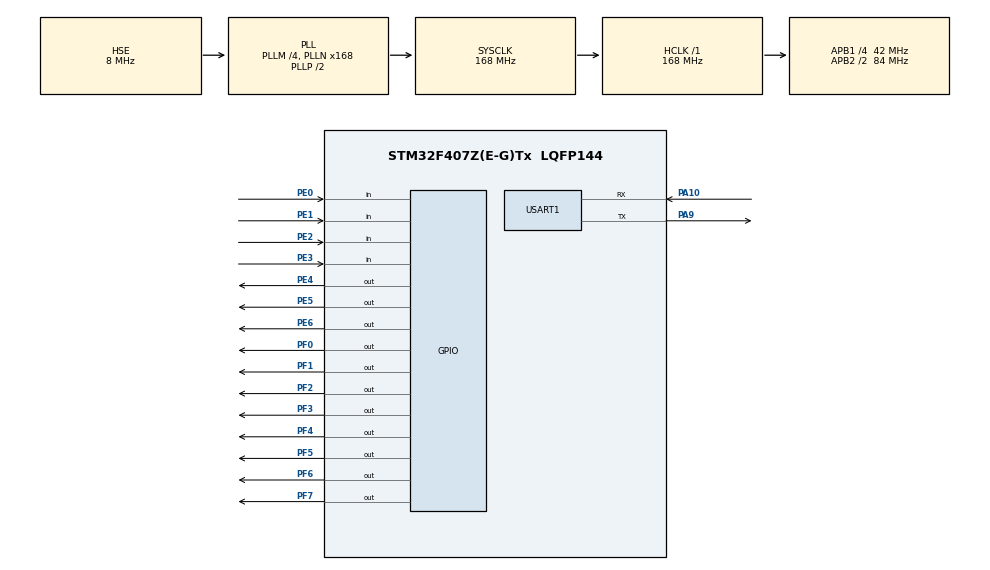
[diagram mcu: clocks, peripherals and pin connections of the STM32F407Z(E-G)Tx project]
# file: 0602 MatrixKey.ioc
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Mcu.Family=STM32F4
Mcu.Name=STM32F407Z(E-G)Tx
Mcu.Package=LQFP144
NVIC.PriorityGroup=NVIC_PRIORITYGROUP_4
PA10.Mode=Asynchronous
PA10.Signal=USART1_RX
PA13.Mode=Serial_Wire
PA13.Signal=SYS_JTMS-SWDIO
PA14.Mode=Serial_Wire
PA14.Signal=SYS_JTCK-SWCLK
PA9.Mode=Asynchronous
PA9.Signal=USART1_TX
PE0.GPIO_PuPd=GPIO_PULLUP
PE0.Signal=GPIO_Input
PE1.GPIO_PuPd=GPIO_PULLUP
PE1.Signal=GPIO_Input
PE2.GPIO_PuPd=GPIO_PULLUP
PE2.Signal=GPIO_Input
PE3.GPIO_PuPd=GPIO_PULLUP
PE3.Signal=GPIO_Input
PE4.PinState=GPIO_PIN_SET
PE4.Signal=GPIO_Output
PE5.PinState=GPIO_PIN_SET
PE5.Signal=GPIO_Output
PE6.PinState=GPIO_PIN_SET
PE6.Signal=GPIO_Output
PF0.PinState=GPIO_PIN_SET
PF0.Signal=GPIO_Output
PF1.PinState=GPIO_PIN_SET
PF1.Signal=GPIO_Output
PF2.PinState=GPIO_PIN_SET
PF2.Signal=GPIO_Output
PF3.PinState=GPIO_PIN_SET
PF3.Signal=GPIO_Output
PF4.PinState=GPIO_PIN_SET
PF4.Signal=GPIO_Output
PF5.PinState=GPIO_PIN_SET
PF5.Signal=GPIO_Output
PF6.PinState=GPIO_PIN_SET
PF6.Signal=GPIO_Output
PF7.PinState=GPIO_PIN_SET
PF7.Signal=GPIO_Output
PH0-OSC_IN.Mode=HSE-External-Oscillator
PH0-OSC_IN.Signal=RCC_OSC_IN
PH1-OSC_OUT.Mode=HSE-External-Oscillator
PH1-OSC_OUT.Signal=RCC_OSC_OUT
ProjectManager.HeapSize=0x200
ProjectManager.StackSize=0x400
ProjectManager.TargetToolchain=STM32CubeIDE
RCC.48MHZClocksFreq_Value=84000000
RCC.AHBFreq_Value=168000000
RCC.APB1CLKDivider=RCC_HCLK_DIV4
RCC.APB1Freq_Value=42000000
RCC.APB1TimFreq_Value=84000000
RCC.APB2CLKDivider=RCC_HCLK_DIV2
RCC.APB2Freq_Value=84000000
RCC.APB2TimFreq_Value=168000000
RCC.CortexFreq_Value=168000000
RCC.HCLKFreq_Value=168000000
RCC.HSE_VALUE=8000000
RCC.HSI_VALUE=16000000
RCC.LSE_VALUE=32768
RCC.PLLM=4
RCC.PLLN=168
RCC.PLLSourceVirtual=RCC_PLLSOURCE_HSE
RCC.SYSCLKFreq_VALUE=168000000
RCC.SYSCLKSource=RCC_SYSCLKSOURCE_PLLCLK
RCC.VCOOutputFreq_Value=336000000
USART1.VirtualMode=VM_ASYNC
board=custom

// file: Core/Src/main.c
/* USER CODE BEGIN Header */
/**
  ******************************************************************************
  * @file           : main.c
  * @brief          : Main program body
  ******************************************************************************
  * @attention
  *
  * Copyright (c) 2026 STMicroelectronics.
  * All rights reserved.
  *
  * This software is licensed under terms that can be found in the LICENSE file
  * in the root directory of this software component.
  * If no LICENSE file comes with this software, it is provided AS-IS.
  *
  ******************************************************************************
  */
/* USER CODE END Header */
#include "main.h"
#include "usart.h"
#include "gpio.h"

/* USER CODE BEGIN Includes */
#include "stdint.h"
/* USER CODE END Includes */

/* USER CODE BEGIN PV */
static uint8_t Scan_MatrixKey(void);
static void Key_To_LED(uint8_t key_val);
/* USER CODE END PV */

void SystemClock_Config(void);

/* USER CODE BEGIN 0 */
void delay(uint32_t t)
{
	while(t--);
}

// 3行PE4~PE6，4列PE0~PE3，返回键值0~9
uint8_t KeyScan(void)
{
	uint8_t keyval = 0xFF;
	//行1 PE4输出低
	GPIOE->ODR |= (1<<4);
	GPIOE->ODR &= ~(1<<4);
	delay(5000);
	if( !(GPIOE->IDR & (1<<0)) ){ delay(5000); while(!(GPIOE->IDR & (1<<0))); keyval = 1; }
	if( !(GPIOE->IDR & (1<<1)) ){ delay(5000); while(!(GPIOE->IDR & (1<<1))); keyval = 2; }
	if( !(GPIOE->IDR & (1<<2)) ){ delay(5000); while(!(GPIOE->IDR & (1<<2))); keyval = 3; }
	if( !(GPIOE->IDR & (1<<3)) ){ delay(5000); while(!(GPIOE->IDR & (1<<3))); keyval = 10; }

	//行2 PE5输出低
	GPIOE->ODR |= (1<<5);
	GPIOE->ODR &= ~(1<<5);
	delay(5000);
	if( !(GPIOE->IDR & (1<<0)) ){ delay(5000); while(!(GPIOE->IDR & (1<<0))); keyval = 4; }
	if( !(GPIOE->IDR & (1<<1)) ){ delay(5000); while(!(GPIOE->IDR & (1<<1))); keyval = 5; }
	if( !(GPIOE->IDR & (1<<2)) ){ delay(5000); while(!(GPIOE->IDR & (1<<2))); keyval = 6; }
	if( !(GPIOE->IDR & (1<<3)) ){ delay(5000); while(!(GPIOE->IDR & (1<<3))); keyval = 11; }

	//行3 PE6输出低
	GPIOE->ODR |= (1<<6);
	GPIOE->ODR &= ~(1<<6);
	delay(5000);
	if( !(GPIOE->IDR & (1<<0)) ){ delay(5000); while(!(GPIOE->IDR & (1<<0))); keyval = 7; }
	if( !(GPIOE->IDR & (1<<1)) ){ delay(5000); while(!(GPIOE->IDR & (1<<1))); keyval = 8; }
	if( !(GPIOE->IDR & (1<<2)) ){ delay(5000); while(!(GPIOE->IDR & (1<<2))); keyval = 9; }
	if( !(GPIOE->IDR & (1<<3)) ){ delay(5000); while(!(GPIOE->IDR & (1<<3))); keyval = 0; }

	GPIOE->ODR |= ((1<<4)|(1<<5)|(1<<6)); //全部行拉高
	return keyval;
}
/* USER CODE END 0 */

int main(void)
{

  /* MCU Configuration--------------------------------------------------------*/

  /* Reset of all peripherals, Initializes the Flash interface and the Systick. */
  HAL_Init();

  /* Configure the system clock */
  SystemClock_Config();

  /* Initialize all configured peripherals */
  MX_GPIO_Init();
  MX_USART1_UART_Init();

  /* Infinite loop */
  /* USER CODE BEGIN WHILE */
  uint8_t key;
  while (1)
  {
	  uint8_t key;
	      key = Scan_MatrixKey();
	      if (key != 0xFF)
	      {
	          Key_To_LED(key);
	          HAL_Delay(300);
	      }
	      else
	      {
	          /* 无按键，熄灭 / 默认 */
	          GPIOF->ODR |= 0x00FF;
	      }
	      HAL_Delay(10);
	  }
    /* USER CODE END WHILE */

  }

void SystemClock_Config(void)
{
  RCC_OscInitTypeDef RCC_OscInitStruct = {0};
  RCC_ClkInitTypeDef RCC_ClkInitStruct = {0};

  /** Configure the main internal regulator output voltage
  */
  __HAL_RCC_PWR_CLK_ENABLE();
  __HAL_PWR_VOLTAGESCALING_CONFIG(PWR_REGULATOR_VOLTAGE_SCALE1);

  /** Initializes the RCC Oscillators according to the specified parameters
  * in the RCC_OscInitTypeDef structure.
  */
  RCC_OscInitStruct.OscillatorType = RCC_OSCILLATORTYPE_HSE;
  RCC_OscInitStruct.HSEState = RCC_HSE_ON;
  RCC_OscInitStruct.PLL.PLLState = RCC_PLL_ON;
  RCC_OscInitStruct.PLL.PLLSource = RCC_PLLSOURCE_HSE;
  RCC_OscInitStruct.PLL.PLLM = 4;
  RCC_OscInitStruct.PLL.PLLN = 168;
  RCC_OscInitStruct.PLL.PLLP = RCC_PLLP_DIV2;
  RCC_OscInitStruct.PLL.PLLQ = 4;
  if (HAL_RCC_OscConfig(&RCC_OscInitStruct) != HAL_OK)
  {
    Error_Handler();
  }

  /** Initializes the CPU, AHB and APB buses clocks
  */
  RCC_ClkInitStruct.ClockType = RCC_CLOCKTYPE_HCLK|RCC_CLOCKTYPE_SYSCLK
                              |RCC_CLOCKTYPE_PCLK1|RCC_CLOCKTYPE_PCLK2;
  RCC_ClkInitStruct.SYSCLKSource = RCC_SYSCLKSOURCE_PLLCLK;
  RCC_ClkInitStruct.AHBCLKDivider = RCC_SYSCLK_DIV1;
  RCC_ClkInitStruct.APB1CLKDivider = RCC_HCLK_DIV4;
  RCC_ClkInitStruct.APB2CLKDivider = RCC_HCLK_DIV2;

  if (HAL_RCC_ClockConfig(&RCC_ClkInitStruct, FLASH_LATENCY_5) != HAL_OK)
  {
    Error_Handler();
  }
}

/* USER CODE BEGIN 4 */
static uint8_t Scan_MatrixKey(void)
{
    static const uint16_t col_pins[] =
    {
        GPIO_PIN_4,
        GPIO_PIN_5,
        GPIO_PIN_6
    };
    static const uint16_t row_pins[] =
    {
        GPIO_PIN_0,
        GPIO_PIN_1,
        GPIO_PIN_2,
        GPIO_PIN_3
    };
    /* 键映射，3×4 */
    static const uint8_t key_map[3][4] =
    {
        { 1,  2,  3,  4 },
        { 5,  6,  7,  8 },
        { 9, 10, 11, 12 }
    };

    for (uint8_t c = 0; c < 3; c++)
    {
        /* 全部列先拉高，再拉低当前这一列 */
        for (uint8_t i = 0; i < 3; i++)
        {
            HAL_GPIO_WritePin(GPIOE, col_pins[i], GPIO_PIN_SET);
        }
        HAL_GPIO_WritePin(GPIOE, col_pins[c], GPIO_PIN_RESET);

        HAL_Delay(2);
        for (uint8_t r = 0; r < 4; r++)
        {
            if (HAL_GPIO_ReadPin(GPIOE, row_pins[r]) == GPIO_PIN_RESET)
            {
                HAL_Delay(10);
                if (HAL_GPIO_ReadPin(GPIOE, row_pins[r]) == GPIO_PIN_RESET)
                {
                    /* 松手检测 */
                    while (HAL_GPIO_ReadPin(GPIOE, row_pins[r]) == GPIO_PIN_RESET);
                    return key_map[c][r];
                }
            }
        }
    }
    return 0xFF;
}

static void Key_To_LED(uint8_t key_val)
{
    /* BCD：只用低 4 bit，送到 PF0～PF3；高四位保持高 */
    uint16_t led_out;
    led_out = ((0x000F & key_val) ^ 0x000F);
    led_out |= 0x00F0;
    GPIOF->ODR = (GPIOF->ODR & 0xFF00) | (led_out & 0x00FF);
}
/* USER CODE END 4 */

void Error_Handler(void)
{
  __disable_irq();
  while (1)
  {
  }
}
